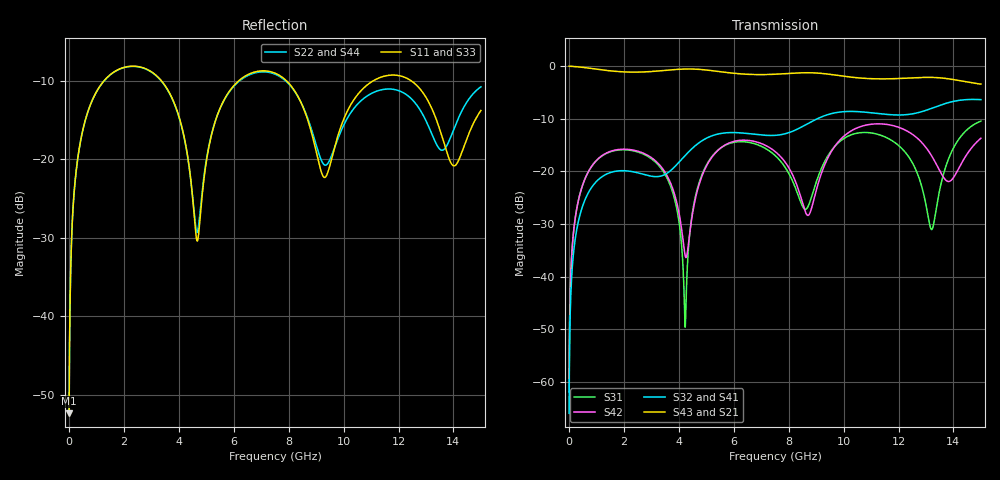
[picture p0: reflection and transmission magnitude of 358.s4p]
! Created with skrf 1.8.0 (http://scikit-rf.org).
# GHz S RI R 50.0
!freq ReS11 ImS11 ReS12 ImS12 ReS13 ImS13
! ReS14 ImS14
! ReS21 ImS21 ReS22 ImS22 ReS23 ImS23
! ReS24 ImS24
! ReS31 ImS31 ReS32 ImS32 ReS33 ImS33
! ReS34 ImS34
! ReS41 ImS41 ReS42 ImS42 ReS43 ImS43
! ReS44 ImS44
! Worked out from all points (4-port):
!   2499 points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, 5 MHz to 15 GHz, reference 50 ohm
!   strongest paths, dB at 5 MHz, 3.476 GHz, 7.19 GHz, 11.1 GHz, 15 GHz:
!     S43: 0.0, -0.8, -1.6, -2.4, -3.4
!     S21: 0.0, -0.8, -1.6, -2.4, -3.4
!     S32: -66.0, -20.6, -13.2, -8.9, -6.4
!     S41: -66.0, -20.7, -13.2, -8.9, -6.4
!     S42: -61.9, -20.0, -15.2, -11.0, -13.7
!     S31: -61.9, -20.4, -15.8, -12.8, -10.5
!   lowest |S11| = -52.4 dB at 5 MHz (marker M1), VSWR 1.00, Z = 50.2 + j0.146 ohm
!   |S11| at or under -10 dB: 3.363 GHz to 6.185 GHz (2.822 GHz wide, 59.1 % of centre); 7.916 GHz to 11.08 GHz (3.168 GHz wide, 33.3 % of centre); 12.46 GHz to end of sweep (the widest 3 of 4)
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0.005  0.00192 0.00145  0.998 -0.00373  9.84e-05 0.000793  -9.54e-05 -0.000493
       0.998 -0.00373  0.00192 0.00145  -9.54e-05 -0.000493  9.85e-05 0.000793
       9.84e-05 0.000793  -9.54e-05 -0.000493  0.00192 0.00145  0.998 -0.00373
       -9.54e-05 -0.000493  9.85e-05 0.000793  0.998 -0.00373  0.00192 0.00145
0.3126303  0.0315 0.0941  0.9569 -0.2307  0.0151 0.0461  -0.0126 -0.028
           0.9569 -0.2307  0.0314 0.0941  -0.0126 -0.028  0.0154 0.046
           0.0151 0.0461  -0.0126 -0.028  0.0315 0.0941  0.9569 -0.2307
           -0.0126 -0.028  0.0154 0.046  0.9569 -0.2307  0.0314 0.0941
1.3193  0.2692 0.1766  0.5516 -0.7267  0.13 0.0666  -0.0925 -0.00661
        0.5516 -0.7267  0.2681 0.1773  -0.0925 -0.00661  0.1333 0.0622
        0.13 0.0666  -0.0925 -0.00661  0.2692 0.1766  0.5516 -0.7267
        -0.0925 -0.00661  0.1333 0.0622  0.5516 -0.7267  0.2681 0.1773
4.233014  0.0613 -0.1127  -0.8702 -0.3494  -0.00325 -0.000577  -0.0486 0.133
          -0.8702 -0.3494  0.0649 -0.1091  -0.0486 0.133  -0.0143 -0.00657
          -0.00325 -0.000577  -0.0486 0.133  0.061 -0.1127  -0.8701 -0.3496
          -0.0486 0.133  -0.0143 -0.00657  -0.8701 -0.3496  0.0651 -0.1089
5.345977  0.1158 0.1355  -0.8233 0.3509  0.1013 0.1135  0.1162 0.1907
          -0.8233 0.3509  0.1179 0.1343  0.1163 0.1907  0.1024 0.111
          0.1013 0.1135  0.1163 0.1907  0.1149 0.1349  -0.8238 0.3504
          0.1162 0.1907  0.1024 0.111  -0.8238 0.3504  0.1178 0.1335
9.378908  0.0784 0.00645  0.8344 0.1154  -0.0166 0.1325  0.0365 -0.3407
          0.8344 0.1154  0.0921 -0.00387  0.036 -0.3408  0.0152 0.1253
          -0.0166 0.1325  0.036 -0.3408  0.076 0.0143  0.8346 0.114
          0.0365 -0.3407  0.0152 0.1253  0.8346 0.114  0.0922 0.0043
15  0.1925 0.0688  -0.6347 0.2263  0.2473 0.1695  0.237 0.4165
    -0.6347 0.2263  0.2776 0.0807  0.2378 0.4168  0.1629 0.1263
    0.2473 0.1695  0.2378 0.4168  0.19 0.0706  -0.6363 0.222
    0.237 0.4165  0.1629 0.1263  -0.6363 0.222  0.279 0.0819
